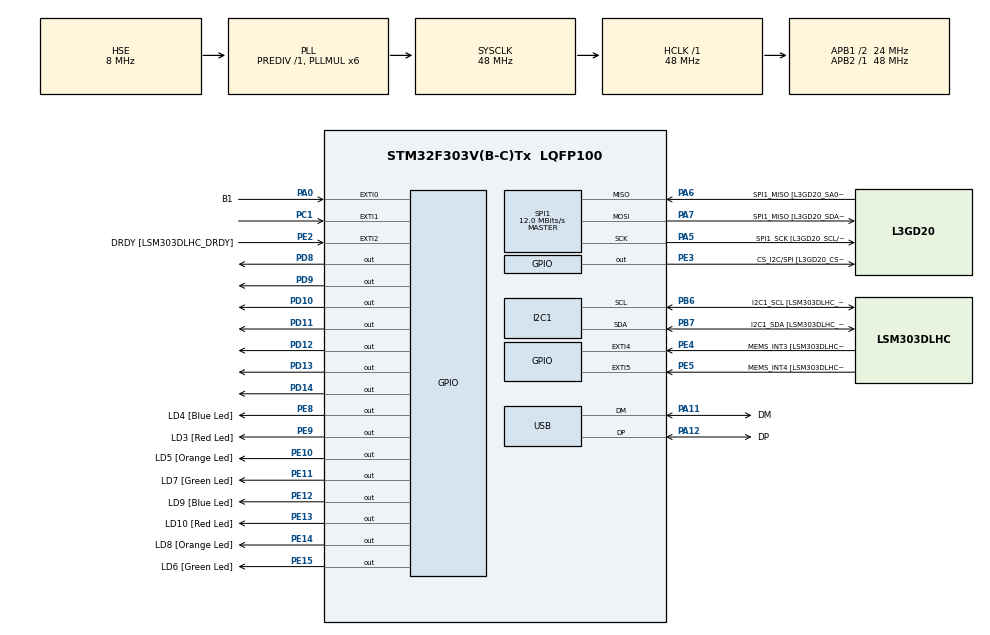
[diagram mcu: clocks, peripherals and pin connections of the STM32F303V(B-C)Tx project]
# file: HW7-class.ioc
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I2C1.Timing=0x2000090E
I2C1.Timing-I2C=0x2000090E
Mcu.Family=STM32F3
Mcu.Name=STM32F303V(B-C)Tx
Mcu.Package=LQFP100
NVIC.EXTI0_IRQn=true\:0\:0\:false\:false\:true\:true\:true\:true
NVIC.EXTI1_IRQn=true\:0\:0\:false\:false\:true\:true\:true\:true
NVIC.PriorityGroup=NVIC_PRIORITYGROUP_1
NVIC.TIM2_IRQn=true\:1\:0\:true\:false\:true\:true\:true\:true
PA0.GPIO_Label=B1
PA0.Signal=GPXTI0
PA11.GPIO_Label=DM
PA11.Mode=Device
PA11.Signal=USB_DM
PA12.GPIO_Label=DP
PA12.Mode=Device
PA12.Signal=USB_DP
PA13.GPIO_Label=SWDIO
PA13.Mode=Serial_Wire
PA13.Signal=SYS_JTMS-SWDIO
PA14.GPIO_Label=SWCLK
PA14.Mode=Serial_Wire
PA14.Signal=SYS_JTCK-SWCLK
PA5.GPIO_Label=SPI1_SCK [L3GD20_SCL/SPC]
PA5.Mode=Full_Duplex_Master
PA5.Signal=SPI1_SCK
PA6.GPIO_Label=SPI1_MISO [L3GD20_SA0/SDO]
PA6.Mode=Full_Duplex_Master
PA6.Signal=SPI1_MISO
PA7.GPIO_Label=SPI1_MISO [L3GD20_SDA/SDI/SDO]
PA7.Mode=Full_Duplex_Master
PA7.Signal=SPI1_MOSI
PB3.GPIO_Label=SWO
PB3.Signal=SYS_JTDO-TRACESWO
PB6.GPIO_Label=I2C1_SCL [LSM303DLHC_SCL]
PB6.GPIO_Pu=GPIO_PULLUP
PB6.Mode=I2C
PB6.Signal=I2C1_SCL
PB7.GPIO_Label=I2C1_SDA [LSM303DLHC_SDA]
PB7.GPIO_Pu=GPIO_PULLUP
PB7.Mode=I2C
PB7.Signal=I2C1_SDA
PC1.Signal=GPXTI1
PC14-OSC32_IN.GPIO_Label=OSC32_IN
PC14-OSC32_IN.Signal=RCC_OSC32_IN
PC15-OSC32_OUT.GPIO_Label=OSC32_OUT
PC15-OSC32_OUT.Signal=RCC_OSC32_OUT
PD10.Signal=GPIO_Output
PD11.Signal=GPIO_Output
PD12.Signal=GPIO_Output
PD13.Signal=GPIO_Output
PD14.Signal=GPIO_Output
PD8.Signal=GPIO_Output
PD9.Signal=GPIO_Output
PE10.GPIO_Label=LD5 [Orange Led]
PE10.Signal=GPIO_Output
PE11.GPIO_Label=LD7 [Green Led]
PE11.Signal=GPIO_Output
PE12.GPIO_Label=LD9 [Blue Led]
PE12.Signal=GPIO_Output
PE13.GPIO_Label=LD10 [Red Led]
PE13.Signal=GPIO_Output
PE14.GPIO_Label=LD8 [Orange Led]
PE14.Signal=GPIO_Output
PE15.GPIO_Label=LD6 [Green Led]
PE15.Signal=GPIO_Output
PE2.GPIO_Label=DRDY [LSM303DLHC_DRDY]
PE2.GPIO_ModeDefaultEXTI=GPIO_MODE_EVT_RISING
PE2.Signal=GPXTI2
PE3.GPIO_Label=CS_I2C/SPI [L3GD20_CS_I2C/SPI]
PE3.Signal=GPIO_Output
PE4.GPIO_Label=MEMS_INT3 [LSM303DLHC_INT1]
PE4.GPIO_ModeDefaultEXTI=GPIO_MODE_EVT_RISING
PE4.Signal=GPXTI4
PE5.GPIO_Label=MEMS_INT4 [LSM303DLHC_INT2]
PE5.GPIO_ModeDefaultEXTI=GPIO_MODE_EVT_RISING
PE5.Signal=GPXTI5
PE8.GPIO_Label=LD4 [Blue Led]
PE8.Signal=GPIO_Output
PE9.GPIO_Label=LD3 [Red Led]
PE9.Signal=GPIO_Output
PF0-OSC_IN.GPIO_Label=OSC_IN
PF0-OSC_IN.Mode=HSE-External-Clock-Source
PF0-OSC_IN.Signal=RCC_OSC_IN
PF1-OSC_OUT.GPIO_Label=OSC_OUT
PF1-OSC_OUT.Signal=RCC_OSC_OUT
ProjectManager.HeapSize=0x200
ProjectManager.StackSize=0x400
ProjectManager.TargetToolchain=STM32CubeIDE
RCC.AHBFreq_Value=48000000
RCC.APB1CLKDivider=RCC_HCLK_DIV2
RCC.APB1Freq_Value=24000000
RCC.APB1TimFreq_Value=48000000
RCC.APB2Freq_Value=48000000
RCC.APB2TimFreq_Value=48000000
RCC.CortexFreq_Value=48000000
RCC.HCLKFreq_Value=48000000
RCC.HSE_VALUE=8000000
RCC.HSI_VALUE=8000000
RCC.LSE_VALUE=32768
RCC.PLLMUL=RCC_PLL_MUL6
RCC.SYSCLKFreq_VALUE=48000000
RCC.SYSCLKSourceVirtual=RCC_SYSCLKSOURCE_PLLCLK
RCC.USBFreq_Value=48000000
RTC.AsynchPrediv=40 - 1
RTC.SynchPrediv=1000 - 1
SPI1.BaudRatePrescaler=SPI_BAUDRATEPRESCALER_4
SPI1.BaudRatePrescaler-Full_Duplex_Master=SPI_BAUDRATEPRESCALER_2
SPI1.CalculateBaudRate=12.0 MBits/s
SPI1.CalculateBaudRate-Full_Duplex_Master=24.0 MBits/s
SPI1.Direction=SPI_DIRECTION_2LINES
SPI1.Mode=SPI_MODE_MASTER
SPI1.Mode-Full_Duplex_Master=SPI_MODE_MASTER
SPI1.VirtualType=VM_MASTER
TIM2.Period=10000
TIM2.Prescaler=4800 - 1
VP_RTC_VS_RTC_Activate.Mode=RTC_Enabled
VP_RTC_VS_RTC_Calendar.Mode=RTC_Calendar
VP_TIM2_VS_ClockSourceINT.Mode=Internal
board=STM32F3DISCOVERY

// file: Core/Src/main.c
/* USER CODE BEGIN Header */
/**
 ******************************************************************************
 * @file           : main.c
 * @brief          : Main program body
 ******************************************************************************
 * @attention
 *
 * Copyright (c) 2023 STMicroelectronics.
 * All rights reserved.
 *
 * This software is licensed under terms that can be found in the LICENSE file
 * in the root directory of this software component.
 * If no LICENSE file comes with this software, it is provided AS-IS.
 *
 ******************************************************************************
 */
/* USER CODE END Header */
#include "main.h"

/* USER CODE BEGIN Includes */
#include "LiquidCrystal.h"
/* USER CODE END Includes */

I2C_HandleTypeDef hi2c1;

RTC_HandleTypeDef hrtc;

SPI_HandleTypeDef hspi1;

TIM_HandleTypeDef htim2;

PCD_HandleTypeDef hpcd_USB_FS;

/* USER CODE BEGIN PV */
/* Private variables ---------------------------------------------------------*/
int alarm = 1;
RTC_TimeTypeDef m_time;
RTC_DateTypeDef m_date;
int anime = 0;
/* USER CODE END PV */

void SystemClock_Config(void);
static void MX_GPIO_Init(void);
static void MX_I2C1_Init(void);
static void MX_SPI1_Init(void);
static void MX_USB_PCD_Init(void);
static void MX_TIM2_Init(void);
static void MX_RTC_Init(void);
/* USER CODE BEGIN PFP */
/* Private function prototypes -----------------------------------------------*/

/* USER CODE END PFP */

/* USER CODE BEGIN 0 */
typedef unsigned char byte;

byte first[8] = {
		0x0E,
		0x0E,
		0x15,
		0x0E,
		0x04,
		0x04,
		0x0A,
		0x11
};
byte second[8] = {
		0x0E,
		0x0E,
		0x04,
		0x0E,
		0x15,
		0x04,
		0x0A,
		0x11
};

/* USER CODE END 0 */

int main(void)
{

	/* MCU Configuration--------------------------------------------------------*/

	/* Reset of all peripherals, Initializes the Flash interface and the Systick. */
	HAL_Init();

	/* Configure the system clock */
	SystemClock_Config();

	/* Initialize all configured peripherals */
	MX_GPIO_Init();
	MX_I2C1_Init();
	MX_SPI1_Init();
	MX_USB_PCD_Init();
	MX_TIM2_Init();
	MX_RTC_Init();
	/* USER CODE BEGIN 2 */
	// initialize the library by associating any needed LCD interface pin
	LiquidCrystal(GPIOD, GPIO_PIN_8, GPIO_PIN_9, GPIO_PIN_10, GPIO_PIN_11, GPIO_PIN_12, GPIO_PIN_13, GPIO_PIN_14);
	//	begin(20,4);

	m_time.Hours = 11;
	m_time.Minutes=10;
	m_time.Seconds=0;

	m_date.Year=02;
	m_date.Month=3;
	m_date.Date=13;
	HAL_RTC_SetTime(&hrtc, &m_time,RTC_FORMAT_BIN);
	HAL_RTC_SetDate(&hrtc, &m_date, RTC_FORMAT_BIN);
	createChar(0, first);
	createChar(1, second);

	HAL_TIM_Base_Start_IT(&htim2);
	/*
  createChar(1, second);
	setCursor(0,1);
	write(1);
	write(0);
	 */
	/* USER CODE END 2 */

	/* Infinite loop */
	while (1)
	{

	}
}

void SystemClock_Config(void)
{
	RCC_OscInitTypeDef RCC_OscInitStruct = {0};
	RCC_ClkInitTypeDef RCC_ClkInitStruct = {0};
	RCC_PeriphCLKInitTypeDef PeriphClkInit = {0};

	/** Initializes the RCC Oscillators according to the specified parameters
	 * in the RCC_OscInitTypeDef structure.
	 */
	RCC_OscInitStruct.OscillatorType = RCC_OSCILLATORTYPE_HSI|RCC_OSCILLATORTYPE_LSI
			|RCC_OSCILLATORTYPE_HSE;
	RCC_OscInitStruct.HSEState = RCC_HSE_BYPASS;
	RCC_OscInitStruct.HSEPredivValue = RCC_HSE_PREDIV_DIV1;
	RCC_OscInitStruct.HSIState = RCC_HSI_ON;
	RCC_OscInitStruct.HSICalibrationValue = RCC_HSICALIBRATION_DEFAULT;
	RCC_OscInitStruct.LSIState = RCC_LSI_ON;
	RCC_OscInitStruct.PLL.PLLState = RCC_PLL_ON;
	RCC_OscInitStruct.PLL.PLLSource = RCC_PLLSOURCE_HSE;
	RCC_OscInitStruct.PLL.PLLMUL = RCC_PLL_MUL6;
	if (HAL_RCC_OscConfig(&RCC_OscInitStruct) != HAL_OK)
	{
		Error_Handler();
	}

	/** Initializes the CPU, AHB and APB buses clocks
	 */
	RCC_ClkInitStruct.ClockType = RCC_CLOCKTYPE_HCLK|RCC_CLOCKTYPE_SYSCLK
			|RCC_CLOCKTYPE_PCLK1|RCC_CLOCKTYPE_PCLK2;
	RCC_ClkInitStruct.SYSCLKSource = RCC_SYSCLKSOURCE_PLLCLK;
	RCC_ClkInitStruct.AHBCLKDivider = RCC_SYSCLK_DIV1;
	RCC_ClkInitStruct.APB1CLKDivider = RCC_HCLK_DIV2;
	RCC_ClkInitStruct.APB2CLKDivider = RCC_HCLK_DIV1;

	if (HAL_RCC_ClockConfig(&RCC_ClkInitStruct, FLASH_LATENCY_1) != HAL_OK)
	{
		Error_Handler();
	}
	PeriphClkInit.PeriphClockSelection = RCC_PERIPHCLK_USB|RCC_PERIPHCLK_I2C1
			|RCC_PERIPHCLK_RTC;
	PeriphClkInit.I2c1ClockSelection = RCC_I2C1CLKSOURCE_HSI;
	PeriphClkInit.RTCClockSelection = RCC_RTCCLKSOURCE_LSI;
	PeriphClkInit.USBClockSelection = RCC_USBCLKSOURCE_PLL;
	if (HAL_RCCEx_PeriphCLKConfig(&PeriphClkInit) != HAL_OK)
	{
		Error_Handler();
	}
}

static void MX_I2C1_Init(void)
{

	hi2c1.Instance = I2C1;
	hi2c1.Init.Timing = 0x2000090E;
	hi2c1.Init.OwnAddress1 = 0;
	hi2c1.Init.AddressingMode = I2C_ADDRESSINGMODE_7BIT;
	hi2c1.Init.DualAddressMode = I2C_DUALADDRESS_DISABLE;
	hi2c1.Init.OwnAddress2 = 0;
	hi2c1.Init.OwnAddress2Masks = I2C_OA2_NOMASK;
	hi2c1.Init.GeneralCallMode = I2C_GENERALCALL_DISABLE;
	hi2c1.Init.NoStretchMode = I2C_NOSTRETCH_DISABLE;
	if (HAL_I2C_Init(&hi2c1) != HAL_OK)
	{
		Error_Handler();
	}

	/** Configure Analogue filter
	 */
	if (HAL_I2CEx_ConfigAnalogFilter(&hi2c1, I2C_ANALOGFILTER_ENABLE) != HAL_OK)
	{
		Error_Handler();
	}

	/** Configure Digital filter
	 */
	if (HAL_I2CEx_ConfigDigitalFilter(&hi2c1, 0) != HAL_OK)
	{
		Error_Handler();
	}

}

static void MX_RTC_Init(void)
{

	RTC_TimeTypeDef sTime = {0};
	RTC_DateTypeDef sDate = {0};

	/** Initialize RTC Only
	 */
	hrtc.Instance = RTC;
	hrtc.Init.HourFormat = RTC_HOURFORMAT_24;
	hrtc.Init.AsynchPrediv = 40 - 1;
	hrtc.Init.SynchPrediv = 1000 - 1;
	hrtc.Init.OutPut = RTC_OUTPUT_DISABLE;
	hrtc.Init.OutPutPolarity = RTC_OUTPUT_POLARITY_HIGH;
	hrtc.Init.OutPutType = RTC_OUTPUT_TYPE_OPENDRAIN;
	if (HAL_RTC_Init(&hrtc) != HAL_OK)
	{
		Error_Handler();
	}

	/** Initialize RTC and set the Time and Date
	 */
	sTime.Hours = 0x0;
	sTime.Minutes = 0x0;
	sTime.Seconds = 0x0;
	sTime.DayLightSaving = RTC_DAYLIGHTSAVING_NONE;
	sTime.StoreOperation = RTC_STOREOPERATION_RESET;
	if (HAL_RTC_SetTime(&hrtc, &sTime, RTC_FORMAT_BCD) != HAL_OK)
	{
		Error_Handler();
	}
	sDate.WeekDay = RTC_WEEKDAY_MONDAY;
	sDate.Month = RTC_MONTH_JANUARY;
	sDate.Date = 0x1;
	sDate.Year = 0x0;

	if (HAL_RTC_SetDate(&hrtc, &sDate, RTC_FORMAT_BCD) != HAL_OK)
	{
		Error_Handler();
	}

}

static void MX_SPI1_Init(void)
{

	/* SPI1 parameter configuration*/
	hspi1.Instance = SPI1;
	hspi1.Init.Mode = SPI_MODE_MASTER;
	hspi1.Init.Direction = SPI_DIRECTION_2LINES;
	hspi1.Init.DataSize = SPI_DATASIZE_4BIT;
	hspi1.Init.CLKPolarity = SPI_POLARITY_LOW;
	hspi1.Init.CLKPhase = SPI_PHASE_1EDGE;
	hspi1.Init.NSS = SPI_NSS_SOFT;
	hspi1.Init.BaudRatePrescaler = SPI_BAUDRATEPRESCALER_4;
	hspi1.Init.FirstBit = SPI_FIRSTBIT_MSB;
	hspi1.Init.TIMode = SPI_TIMODE_DISABLE;
	hspi1.Init.CRCCalculation = SPI_CRCCALCULATION_DISABLE;
	hspi1.Init.CRCPolynomial = 7;
	hspi1.Init.CRCLength = SPI_CRC_LENGTH_DATASIZE;
	hspi1.Init.NSSPMode = SPI_NSS_PULSE_ENABLE;
	if (HAL_SPI_Init(&hspi1) != HAL_OK)
	{
		Error_Handler();
	}

}

static void MX_TIM2_Init(void)
{

	TIM_ClockConfigTypeDef sClockSourceConfig = {0};
	TIM_MasterConfigTypeDef sMasterConfig = {0};

	htim2.Instance = TIM2;
	htim2.Init.Prescaler = 4800 - 1;
	htim2.Init.CounterMode = TIM_COUNTERMODE_UP;
	htim2.Init.Period = 10000;
	htim2.Init.ClockDivision = TIM_CLOCKDIVISION_DIV1;
	htim2.Init.AutoReloadPreload = TIM_AUTORELOAD_PRELOAD_DISABLE;
	if (HAL_TIM_Base_Init(&htim2) != HAL_OK)
	{
		Error_Handler();
	}
	sClockSourceConfig.ClockSource = TIM_CLOCKSOURCE_INTERNAL;
	if (HAL_TIM_ConfigClockSource(&htim2, &sClockSourceConfig) != HAL_OK)
	{
		Error_Handler();
	}
	sMasterConfig.MasterOutputTrigger = TIM_TRGO_RESET;
	sMasterConfig.MasterSlaveMode = TIM_MASTERSLAVEMODE_DISABLE;
	if (HAL_TIMEx_MasterConfigSynchronization(&htim2, &sMasterConfig) != HAL_OK)
	{
		Error_Handler();
	}

}

static void MX_USB_PCD_Init(void)
{

	hpcd_USB_FS.Instance = USB;
	hpcd_USB_FS.Init.dev_endpoints = 8;
	hpcd_USB_FS.Init.speed = PCD_SPEED_FULL;
	hpcd_USB_FS.Init.phy_itface = PCD_PHY_EMBEDDED;
	hpcd_USB_FS.Init.low_power_enable = DISABLE;
	hpcd_USB_FS.Init.battery_charging_enable = DISABLE;
	if (HAL_PCD_Init(&hpcd_USB_FS) != HAL_OK)
	{
		Error_Handler();
	}

}

static void MX_GPIO_Init(void)
{
	GPIO_InitTypeDef GPIO_InitStruct = {0};

	/* GPIO Ports Clock Enable */
	__HAL_RCC_GPIOE_CLK_ENABLE();
	__HAL_RCC_GPIOC_CLK_ENABLE();
	__HAL_RCC_GPIOF_CLK_ENABLE();
	__HAL_RCC_GPIOA_CLK_ENABLE();
	__HAL_RCC_GPIOD_CLK_ENABLE();
	__HAL_RCC_GPIOB_CLK_ENABLE();

	/*Configure GPIO pin Output Level */
	HAL_GPIO_WritePin(GPIOE, CS_I2C_SPI_Pin|LD4_Pin|LD3_Pin|LD5_Pin
			|LD7_Pin|LD9_Pin|LD10_Pin|LD8_Pin
			|LD6_Pin, GPIO_PIN_RESET);

	/*Configure GPIO pin Output Level */
	HAL_GPIO_WritePin(GPIOD, GPIO_PIN_8|GPIO_PIN_9|GPIO_PIN_10|GPIO_PIN_11
			|GPIO_PIN_12|GPIO_PIN_13|GPIO_PIN_14, GPIO_PIN_RESET);

	/*Configure GPIO pins : DRDY_Pin MEMS_INT3_Pin MEMS_INT4_Pin */
	GPIO_InitStruct.Pin = DRDY_Pin|MEMS_INT3_Pin|MEMS_INT4_Pin;
	GPIO_InitStruct.Mode = GPIO_MODE_EVT_RISING;
	GPIO_InitStruct.Pull = GPIO_NOPULL;
	HAL_GPIO_Init(GPIOE, &GPIO_InitStruct);

	/*Configure GPIO pins : CS_I2C_SPI_Pin LD4_Pin LD3_Pin LD5_Pin
                           LD7_Pin LD9_Pin LD10_Pin LD8_Pin
                           LD6_Pin */
	GPIO_InitStruct.Pin = CS_I2C_SPI_Pin|LD4_Pin|LD3_Pin|LD5_Pin
			|LD7_Pin|LD9_Pin|LD10_Pin|LD8_Pin
			|LD6_Pin;
	GPIO_InitStruct.Mode = GPIO_MODE_OUTPUT_PP;
	GPIO_InitStruct.Pull = GPIO_NOPULL;
	GPIO_InitStruct.Speed = GPIO_SPEED_FREQ_LOW;
	HAL_GPIO_Init(GPIOE, &GPIO_InitStruct);

	/*Configure GPIO pin : PC1 */
	GPIO_InitStruct.Pin = GPIO_PIN_1;
	GPIO_InitStruct.Mode = GPIO_MODE_IT_RISING;
	GPIO_InitStruct.Pull = GPIO_NOPULL;
	HAL_GPIO_Init(GPIOC, &GPIO_InitStruct);

	/*Configure GPIO pin : B1_Pin */
	GPIO_InitStruct.Pin = B1_Pin;
	GPIO_InitStruct.Mode = GPIO_MODE_IT_RISING;
	GPIO_InitStruct.Pull = GPIO_NOPULL;
	HAL_GPIO_Init(B1_GPIO_Port, &GPIO_InitStruct);

	/*Configure GPIO pins : PD8 PD9 PD10 PD11
                           PD12 PD13 PD14 */
	GPIO_InitStruct.Pin = GPIO_PIN_8|GPIO_PIN_9|GPIO_PIN_10|GPIO_PIN_11
			|GPIO_PIN_12|GPIO_PIN_13|GPIO_PIN_14;
	GPIO_InitStruct.Mode = GPIO_MODE_OUTPUT_PP;
	GPIO_InitStruct.Pull = GPIO_NOPULL;
	GPIO_InitStruct.Speed = GPIO_SPEED_FREQ_LOW;
	HAL_GPIO_Init(GPIOD, &GPIO_InitStruct);

	/* EXTI interrupt init*/
	HAL_NVIC_SetPriority(EXTI0_IRQn, 0, 0);
	HAL_NVIC_EnableIRQ(EXTI0_IRQn);

	HAL_NVIC_SetPriority(EXTI1_IRQn, 0, 0);
	HAL_NVIC_EnableIRQ(EXTI1_IRQn);

}

/* USER CODE BEGIN 4 */
void HAL_GPIO_EXTI_Callback(uint16_t GPIO_Pin){
	if (GPIO_Pin == GPIO_PIN_1)
	{
		alarm = 1;
	}
}
void HAL_TIM_PeriodElapsedCallback(TIM_HandleTypeDef *htim) {
	if (htim->Instance == TIM2) {
		static uint32_t tim2_cnt = 0;
		static uint32_t tim_alarm = 0;
		static char alarmstr[20];
		tim2_cnt++;
		if(!alarm)
		{
			if (tim2_cnt % 2 == 1){
				display();
				setCursor(0,0);
				print("    Motion Sensor   ");
				setCursor(0,1);
				print("    Is Activated   ");
			}else
			{
				noDisplay();
			}
		}else
		{
			if(tim_alarm < 5)
			{
				display();
				setCursor(0,0);
				write(anime);
				print("      DANGER      ");
				write(anime);
				HAL_RTC_GetTime(&hrtc, &m_time, RTC_FORMAT_BIN);
				HAL_RTC_GetDate(&hrtc, &m_date, RTC_FORMAT_BIN);
				char timestr[20];
				sprintf(timestr,"      %02d:%02d:%02d",m_time.Hours,m_time.Minutes,m_time.Seconds);
				print(timestr);
				char datestr[20];
				setCursor(0,2);
				sprintf(datestr,"      %d//%d//%d     ",m_date.Year,m_date.Month,m_date.Date);
				print(datestr);
				anime = !anime;
				/*
				for (int i = 0; i < tim_alarm; ++i) {
					strcat(alarmstr, "<");  // add n '<' characters
				}
				for (int i = 0; i < tim_alarm; ++i) {
					strcat(alarmstr, ">");  // add n '<' characters
				}
				alarmstr[tim_alarm * 2 ] = 0;
				setCursor(0,3);
				print(alarmstr);
				*/
				tim_alarm++;
			}else
			{
				alarmstr[0] = 0;
				clear();
				tim_alarm = 0;
				alarm = 0;
			}
		}

	}
}
/* USER CODE END 4 */

void Error_Handler(void)
{
	while(1)
	{
	}
}
